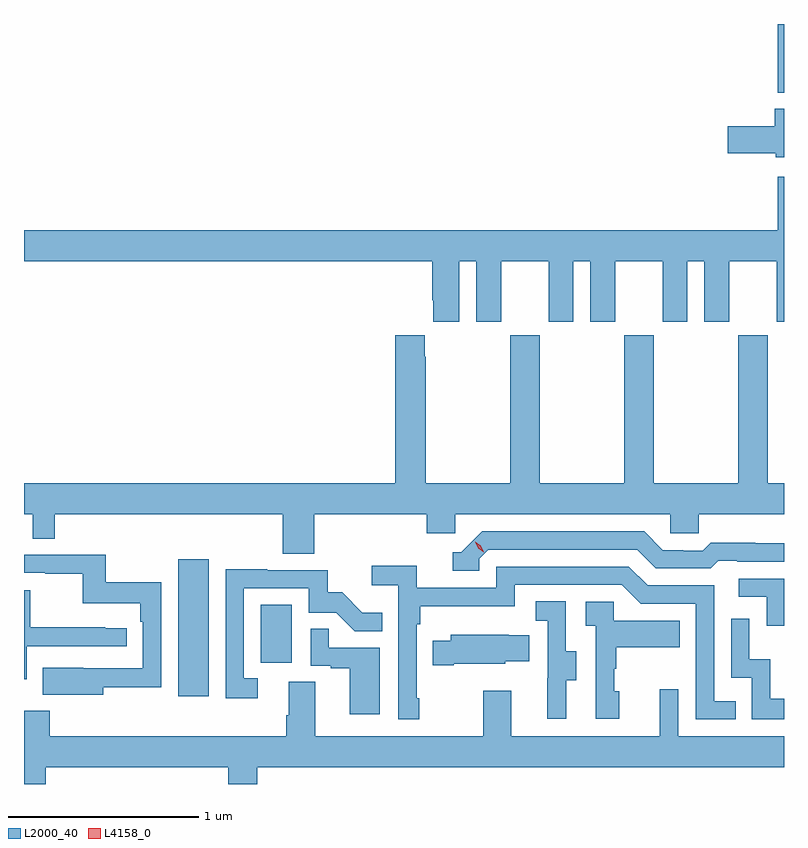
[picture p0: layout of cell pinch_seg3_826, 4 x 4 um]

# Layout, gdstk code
import gdstk
lib = gdstk.Library(unit=1e-6, precision=1e-09)
def R(c, l, rs):  # rectangles x0, y0, x1, y1
    for r in rs: c.add(gdstk.rectangle(r[:2], r[2:], *l))
def P(c, l, *ps):  # polygons
    for p in ps: c.add(gdstk.Polygon(p, *l))
L2000_40 = (2000, 40)
L4158_0 = (4158, 0)

pinch_seg3_826 = lib.new_cell('pinch_seg3_826')
R(pinch_seg3_826, L2000_40, [(854.417,713.28,854.578,714.001), (854.852,713.454,855.016,713.761), (857.574,716.456,857.606,716.817)])
P(pinch_seg3_826, L2000_40, [(857.606,716.371),(857.558,716.371),(857.558,716.279),(857.31,716.279),(857.31,716.137),(857.562,716.137),(857.562,716.117),(857.606,716.117)],
  [(855.898,715.568),(855.986,715.568),(855.986,715.251),(856.117,715.251),(856.117,715.568),(856.367,715.568),(856.367,715.251),(856.498,715.251),(856.498,715.568),(856.586,715.568),(856.586,715.251),(856.717,715.251),(856.717,715.568),(856.967,715.568),(856.967,715.251),(857.098,715.251),(857.098,715.568),(857.186,715.568),(857.186,715.251),(857.317,715.251),(857.317,715.568),(857.567,715.568),(857.567,715.251),(857.606,715.251),(857.606,716.014),(857.574,716.014),(857.574,715.732),(853.606,715.732),(853.606,715.568),(855.755,715.568),(855.755,715.363),(855.761,715.363),(855.761,715.251),(855.898,715.251)],
  [(855.134,714.236),(855.725,714.236),(855.725,714.138),(855.876,714.138),(855.876,714.236),(857.007,714.236),(857.007,714.138),(857.157,714.138),(857.157,714.236),(857.606,714.236),(857.606,714.4),(857.52,714.4),(857.52,715.18),(857.365,715.18),(857.365,714.4),(856.92,714.4),(856.92,715.18),(856.765,715.18),(856.765,714.4),(856.32,714.4),(856.32,715.18),(856.165,715.18),(856.165,714.4),(855.72,714.4),(855.72,715.067),(855.715,715.067),(855.715,715.18),(855.56,715.18),(855.56,714.4),(853.606,714.4),(853.606,714.236),(853.653,714.236),(853.653,714.109),(853.769,714.109),(853.769,714.236),(854.969,714.236),(854.969,714.028),(855.134,714.028)],
  [(856.002,714.003),(856.05,714.051),(856.833,714.051),(856.932,713.952),(857.221,713.952),(857.26,713.991),(857.359,713.991),(857.359,713.988),(857.606,713.988),(857.606,714.085),(857.454,714.085),(857.454,714.088),(857.221,714.088),(857.179,714.045),(857.076,714.045),(857.076,714.048),(856.969,714.048),(856.87,714.147),(856.017,714.147),(855.906,714.036),(855.863,714.036),(855.863,713.94),(856.002,713.94)],
  [(854.023,713.326),(854.328,713.326),(854.328,713.878),(854.035,713.878),(854.035,714.024),(853.606,714.024),(853.606,713.928),(853.717,713.928),(853.717,713.923),(853.914,713.923),(853.914,713.768),(854.219,713.768),(854.219,713.672),(854.232,713.672),(854.232,713.427),(853.919,713.427),(853.919,713.428),(853.705,713.428),(853.705,713.288),(854.023,713.288)],
  [(855.685,713.269),(855.672,713.269),(855.672,713.657),(855.692,713.657),(855.692,713.753),(856.188,713.753),(856.188,713.865),(856.752,713.865),(856.851,713.766),(857.142,713.766),(857.142,713.157),(857.351,713.157),(857.351,713.253),(857.238,713.253),(857.238,713.862),(856.888,713.862),(856.789,713.961),(856.092,713.961),(856.092,713.85),(855.674,713.85),(855.674,713.966),(855.435,713.966),(855.435,713.864),(855.576,713.864),(855.576,713.157),(855.685,713.157)],
  [(854.836,713.373),(854.763,713.373),(854.763,713.847),(855.105,713.847),(855.105,713.718),(855.249,713.718),(855.347,713.62),(855.491,713.62),(855.491,713.719),(855.387,713.719),(855.28,713.826),(855.204,713.826),(855.204,713.943),(854.885,713.943),(854.885,713.948),(854.667,713.948),(854.667,713.268),(854.836,713.268)],
  [(857.606,713.898),(857.367,713.898),(857.367,713.802),(857.514,713.802),(857.514,713.649),(857.606,713.649)],
  [(853.62,713.541),(854.146,713.541),(854.146,713.637),(854.033,713.637),(854.033,713.642),(853.64,713.642),(853.64,713.838),(853.606,713.838),(853.606,713.369),(853.62,713.369)],
  [(856.459,713.362),(856.513,713.362),(856.513,713.517),(856.458,713.517),(856.458,713.78),(856.299,713.78),(856.299,713.677),(856.362,713.677),(856.362,713.373),(856.361,713.373),(856.361,713.16),(856.459,713.16)],
  [(856.738,713.304),(856.713,713.304),(856.713,713.423),(856.723,713.423),(856.723,713.537),(857.057,713.537),(857.057,713.677),(856.71,713.677),(856.71,713.775),(856.563,713.775),(856.563,713.651),(856.614,713.651),(856.614,713.16),(856.738,713.16)],
  [(857.606,713.266),(857.534,713.266),(857.534,713.474),(857.424,713.474),(857.424,713.686),(857.328,713.686),(857.328,713.376),(857.436,713.376),(857.436,713.157),(857.606,713.157)],
  [(855.478,713.535),(855.209,713.535),(855.209,713.633),(855.114,713.633),(855.114,713.439),(855.221,713.439),(855.221,713.427),(855.32,713.427),(855.32,713.184),(855.478,713.184)],
  [(855.868,713.45),(856.14,713.45),(856.14,713.462),(856.265,713.462),(856.265,713.599),(856.157,713.599),(856.157,713.602),(855.851,713.602),(855.851,713.572),(855.757,713.572),(855.757,713.443),(855.868,713.443)],
  [(853.721,712.904),(854.681,712.904),(854.681,712.817),(854.834,712.817),(854.834,712.904),(857.606,712.904),(857.606,713.068),(857.049,713.068),(857.049,713.317),(856.952,713.317),(856.952,713.068),(856.171,713.068),(856.171,713.308),(856.024,713.308),(856.024,713.068),(855.139,713.068),(855.139,713.354),(854.999,713.354),(854.999,713.18),(854.987,713.18),(854.987,713.068),(853.742,713.068),(853.742,713.203),(853.606,713.203),(853.606,712.817),(853.721,712.817)])
P(pinch_seg3_826, L4158_0, [(856.027,714.038),(855.996,714.057),(855.98,714.09),(855.98,714.091),(855.98,714.091),(856.011,714.071),(856.027,714.038),(856.027,714.038)])

lib.write_gds('pinch_seg3_826.gds')
